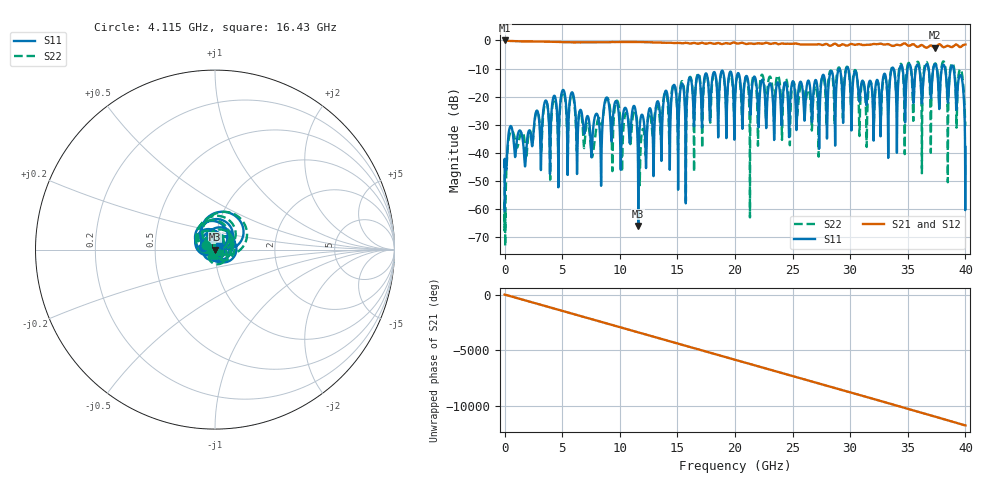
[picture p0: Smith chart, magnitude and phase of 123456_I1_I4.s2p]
# MHz MA S R 50.0
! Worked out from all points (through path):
!   8000 points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, 5 MHz to 40 GHz, reference 50 ohm
!   highest |S21| = -0.02 dB at 5 MHz (marker M1); lowest = -2.6 dB at 37.34 GHz (marker M2)
!   group delay of S21, straight-line fit = 816 ps
!   lowest |S11| = -66.0 dB at 11.61 GHz (marker M3), VSWR 1.00, Z = 50 + j0.0439 ohm
!   |S11| at or under -10 dB: start of sweep to 29.67 GHz; 29.83 GHz to 33.62 GHz (3.787 GHz wide, 11.9 % of centre); 38.97 GHz to end of sweep (the widest 3 of 10)
!   |S22| runs from -73.2 to -7.4 dB; largest |S21 - S12| = 0.0025
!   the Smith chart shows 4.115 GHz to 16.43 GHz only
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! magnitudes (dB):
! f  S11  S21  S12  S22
! 5 MHz  -60.6  0.0  0.0  -47.7
! 515 MHz  -30.5  -0.2  -0.2  -32.4
! 1.785 GHz  -44.8  -0.3  -0.3  -37.5
! 5.075 GHz  -17.6  -0.6  -0.6  -18.4
! 6.675 GHz  -25.4  -0.7  -0.7  -26.6
! 7.65 GHz  -33.6  -0.7  -0.7  -40.8
! 9.765 GHz  -22.2  -0.6  -0.6  -21.4
! 10.19 GHz  -31.4  -0.6  -0.6  -45.7
! 11.24 GHz  -23.3  -0.6  -0.6  -25.6
! 11.61 GHz  -66.0  -0.6  -0.6  -33.4
! 13.34 GHz  -21.8  -0.7  -0.7  -23.9
! 16.8 GHz  -12.3  -1.2  -1.2  -11.7
! 20 GHz  -22.0  -0.8  -0.8  -20.2
! 26.67 GHz  -28.3  -1.4  -1.4  -32.1
! 29.01 GHz  -10.2  -1.9  -1.9  -9.6
! 31.43 GHz  -22.6  -1.5  -1.5  -37.6
! 33.34 GHz  -26.8  -1.4  -1.4  -19.4
! 33.67 GHz  -9.7  -2.0  -2.0  -9.4
! 34.05 GHz  -39.3  -1.5  -1.5  -22.4
! 37.34 GHz  -8.4  -2.6  -2.6  -8.3
! 39.61 GHz  -12.5  -2.3  -2.3  -10.4
! 40 GHz  -37.9  -1.5  -1.5  -30.1
